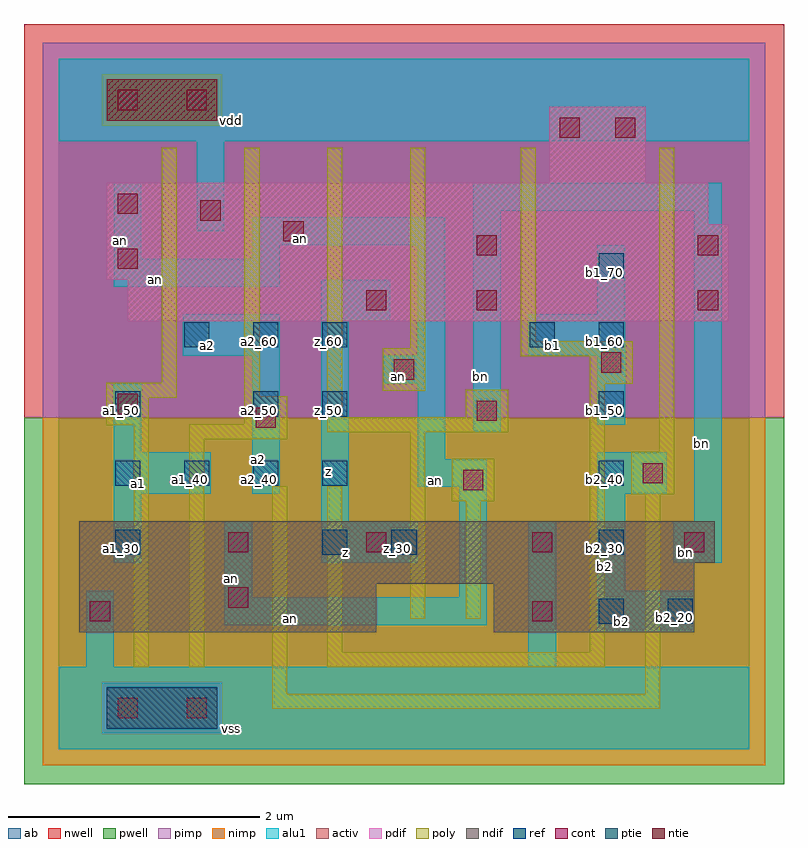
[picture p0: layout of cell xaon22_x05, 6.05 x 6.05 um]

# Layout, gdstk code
import gdstk
lib = gdstk.Library(unit=1e-6, precision=2.5e-09)
def R(c, l, rs):  # rectangles x0, y0, x1, y1
    for r in rs: c.add(gdstk.rectangle(r[:2], r[2:], *l))
def A(c, l, x, y, w, h, nx, ny, dx, dy):  # array of equal rectangles
    R(c, l, [(x+i*dx, y+j*dy, x+i*dx+w, y+j*dy+h) for i in range(nx) for j in range(ny)])
ndif = (3, 0)
pdif = (4, 0)
ntie = (5, 0)
ptie = (6, 0)
ref = (24, 0)
cont = (25, 0)
pwell = (41, 0)
nwell = (42, 0)
activ = (43, 0)
pimp = (44, 0)
nimp = (45, 0)
poly = (46, 0)
alu1 = (49, 0)
ab = (63, 0)

xaon22_x05 = lib.new_cell('xaon22_x05')
R(xaon22_x05, ndif, [(0.165,0.935,2.53,1.32), (3.465,0.935,5.06,1.32), (0.165,1.32,5.06,1.485), (0.165,1.485,5.225,1.815)])
R(xaon22_x05, pdif, [(0.55,3.41,5.335,3.74), (0.385,3.74,5.335,4.18), (0.385,4.18,5.17,4.51), (3.905,4.51,4.675,5.115)])
R(xaon22_x05, ntie, [(0.385,5.005,1.265,5.335)])
R(xaon22_x05, ptie, [(0.385,0.165,1.265,0.495)])
A(xaon22_x05, ref, 4.3, 1, 0.2, 0.2, 1, 6, 0, 0.55)
A(xaon22_x05, ref, 0.45, 2.1, 0.2, 0.2, 4, 1, 0.55, 0)
A(xaon22_x05, ref, 1, 3.2, 0.2, 0.2, 3, 1, 0.55, 0)
R(xaon22_x05, ref, [(4.85,1,5.05,1.2), (0.45,1.55,0.65,1.75), (2.1,1.55,2.3,1.75), (2.65,1.55,2.85,1.75), (0.45,2.65,0.65,2.85), (1.55,2.65,1.75,2.85), (2.1,2.65,2.3,2.85), (3.75,3.2,3.95,3.4)])
R(xaon22_x05, cont, [(0.47,0.25,0.63,0.41), (1.02,0.25,1.18,0.41), (0.25,1.02,0.41,1.18), (3.77,1.02,3.93,1.18), (1.35,1.13,1.51,1.29), (1.35,1.57,1.51,1.73), (2.45,1.57,2.61,1.73), (3.77,1.57,3.93,1.73), (4.98,1.57,5.14,1.73), (3.22,2.065,3.38,2.225), (4.65,2.12,4.81,2.28), (1.57,2.56,1.73,2.72), (3.33,2.615,3.49,2.775), (0.47,2.67,0.63,2.83), (2.67,2.945,2.83,3.105), (4.32,3,4.48,3.16), (2.45,3.495,2.61,3.655), (3.33,3.495,3.49,3.655), (5.09,3.495,5.25,3.655), (0.47,3.825,0.63,3.985), (3.33,3.935,3.49,4.095), (5.09,3.935,5.25,4.095), (1.79,4.045,1.95,4.205), (1.13,4.21,1.29,4.37), (0.47,4.265,0.63,4.425), (3.99,4.87,4.15,5.03), (4.43,4.87,4.59,5.03), (0.47,5.09,0.63,5.25), (1.02,5.09,1.18,5.25)])
R(xaon22_x05, pwell, [(-0.275,-0.275,5.775,2.64)])
R(xaon22_x05, nwell, [(-0.275,2.64,5.775,5.775)])
R(xaon22_x05, activ, [(0.385,0.165,1.265,0.495), (0.165,0.935,2.53,1.32), (3.465,0.935,5.06,1.32), (0.165,1.32,5.06,1.485), (0.165,1.485,5.225,1.815), (0.55,3.41,5.335,3.74), (0.385,3.74,5.335,4.18), (0.385,4.18,5.17,4.51), (3.905,4.51,4.675,5.115), (0.385,5.005,1.265,5.335)])
R(xaon22_x05, pimp, [(0.345,0.125,1.305,0.535), (-0.125,2.64,5.625,4.965), (-0.125,4.965,0.345,5.375), (1.305,4.965,5.625,5.375), (-0.125,5.375,5.625,5.625)])
R(xaon22_x05, nimp, [(-0.125,-0.125,5.625,0.125), (-0.125,0.125,0.345,0.535), (1.305,0.125,5.625,0.535), (-0.125,0.535,5.625,2.64), (0.345,4.965,1.305,5.375)])
R(xaon22_x05, poly, [(1.7,0.325,4.79,0.445), (1.7,0.445,1.82,2.095), (4.67,0.445,4.79,2.03), (0.6,0.655,0.72,2.58), (1.04,0.655,1.16,2.47), (2.14,0.655,4.35,0.775), (2.14,0.775,2.26,2.095), (4.23,0.775,4.35,2.91), (2.8,1.04,2.92,2.525), (3.24,1.04,3.36,1.975), (3.13,1.975,3.47,2.315), (4.56,2.03,4.9,2.37), (4.78,2.37,4.9,4.79), (1.04,2.47,1.82,2.59), (2.14,2.525,3.58,2.645), (0.38,2.58,0.72,2.8), (1.48,2.59,1.82,2.81), (2.14,2.645,2.26,4.79), (3.24,2.645,3.58,2.865), (0.38,2.8,0.94,2.92), (1.48,2.81,1.6,4.79), (2.58,2.855,2.92,3.195), (4.23,2.91,4.57,3.13), (0.82,2.92,0.94,4.79), (3.68,3.13,4.57,3.25), (2.8,3.195,2.92,4.79), (3.68,3.25,3.8,4.79)])
R(xaon22_x05, alu1, [(0,0,5.5,0.66), (0.22,0.66,0.44,1.265), (3.74,0.66,3.96,1.815), (4.29,0.935,5.06,1.265), (1.32,0.99,3.41,1.21), (1.32,1.21,1.54,1.815), (3.19,1.21,3.41,2.09), (4.29,1.265,4.51,2.035), (0.44,1.485,0.66,2.035), (2.09,1.485,2.86,1.815), (4.895,1.485,5.28,1.815), (2.09,1.815,2.31,3.41), (5.06,1.815,5.28,4.29), (0.44,2.035,1.21,2.365), (1.54,2.035,1.76,3.135), (4.29,2.035,4.84,2.365), (2.86,2.09,3.41,2.31), (2.86,2.31,3.08,2.915), (0.44,2.365,0.66,2.915), (3.3,2.53,3.52,4.29), (4.29,2.585,4.51,3.135), (2.585,2.915,3.08,3.135), (0.99,3.135,1.76,3.465), (2.86,3.135,3.08,4.015), (3.74,3.135,4.51,3.465), (2.09,3.41,2.64,3.74), (4.29,3.465,4.51,4.015), (0.44,3.685,1.76,3.905), (0.44,3.905,0.66,4.51), (1.54,3.905,1.76,4.015), (1.54,4.015,3.08,4.235), (1.1,4.125,1.32,4.84), (3.3,4.29,5.28,4.51), (0,4.84,5.5,5.5)])
R(xaon22_x05, ab, [(0,0,5.5,5.5)])
xaon22_x05.add(gdstk.Label('vss', (1.375,0.165), layer=49, texttype=0))
xaon22_x05.add(gdstk.Label('b2', (4.4825,1.0175), layer=49, texttype=0))
xaon22_x05.add(gdstk.Label('bn', (4.99,1.5675), layer=49, texttype=0))
xaon22_x05.add(gdstk.Label('bn', (5.115,2.4325), layer=49, texttype=0))
xaon22_x05.add(gdstk.Label('b2', (4.345,1.4575), layer=49, texttype=0))
xaon22_x05.add(gdstk.Label('an', (1.8425,1.045), layer=49, texttype=0))
xaon22_x05.add(gdstk.Label('z', (2.2825,1.5675), layer=49, texttype=0))
xaon22_x05.add(gdstk.Label('an', (1.375,1.36), layer=49, texttype=0))
xaon22_x05.add(gdstk.Label('an', (2.9975,2.145), layer=49, texttype=0))
xaon22_x05.add(gdstk.Label('b1', (3.9325,3.2175), layer=49, texttype=0))
xaon22_x05.add(gdstk.Label('bn', (3.355,2.97), layer=49, texttype=0))
xaon22_x05.add(gdstk.Label('an', (2.7075,2.97), layer=49, texttype=0))
xaon22_x05.add(gdstk.Label('z', (2.145,2.2125), layer=49, texttype=0))
xaon22_x05.add(gdstk.Label('a2', (1.595,2.31), layer=49, texttype=0))
xaon22_x05.add(gdstk.Label('a1', (0.6325,2.1175), layer=49, texttype=0))
xaon22_x05.add(gdstk.Label('a2', (1.1825,3.2175), layer=49, texttype=0))
xaon22_x05.add(gdstk.Label('an', (0.77,3.74), layer=49, texttype=0))
xaon22_x05.add(gdstk.Label('an', (1.925,4.07), layer=49, texttype=0))
xaon22_x05.add(gdstk.Label('an', (0.495,4.055), layer=49, texttype=0))
xaon22_x05.add(gdstk.Label('vdd', (1.375,5.005), layer=49, texttype=0))
xaon22_x05.add(gdstk.Label('b2_20', (4.9,1.05), layer=24, texttype=0))
xaon22_x05.add(gdstk.Label('b1_50', (4.35,2.7), layer=24, texttype=0))
xaon22_x05.add(gdstk.Label('b1_60', (3.8,3.25), layer=24, texttype=0))
xaon22_x05.add(gdstk.Label('a1_50', (0.5,2.7), layer=24, texttype=0))
xaon22_x05.add(gdstk.Label('a1_30', (0.5,1.6), layer=24, texttype=0))
xaon22_x05.add(gdstk.Label('a1_40', (0.5,2.15), layer=24, texttype=0))
xaon22_x05.add(gdstk.Label('a2_60', (1.6,3.25), layer=24, texttype=0))
xaon22_x05.add(gdstk.Label('z_40', (2.15,2.15), layer=24, texttype=0))
xaon22_x05.add(gdstk.Label('z_50', (2.15,2.7), layer=24, texttype=0))
xaon22_x05.add(gdstk.Label('z_60', (2.15,3.25), layer=24, texttype=0))
xaon22_x05.add(gdstk.Label('z_30', (2.15,1.6), layer=24, texttype=0))
xaon22_x05.add(gdstk.Label('a2_60', (1.05,3.25), layer=24, texttype=0))
xaon22_x05.add(gdstk.Label('a2_50', (1.6,2.7), layer=24, texttype=0))
xaon22_x05.add(gdstk.Label('a2_40', (1.6,2.15), layer=24, texttype=0))
xaon22_x05.add(gdstk.Label('z_30', (2.7,1.6), layer=24, texttype=0))
xaon22_x05.add(gdstk.Label('b2_20', (4.35,1.05), layer=24, texttype=0))
xaon22_x05.add(gdstk.Label('b2_30', (4.35,1.6), layer=24, texttype=0))
xaon22_x05.add(gdstk.Label('b2_40', (4.35,2.15), layer=24, texttype=0))
xaon22_x05.add(gdstk.Label('b1_60', (4.35,3.25), layer=24, texttype=0))
xaon22_x05.add(gdstk.Label('b1_70', (4.35,3.8), layer=24, texttype=0))
xaon22_x05.add(gdstk.Label('a1_40', (1.05,2.15), layer=24, texttype=0))

lib.write_gds('xaon22_x05.gds')
